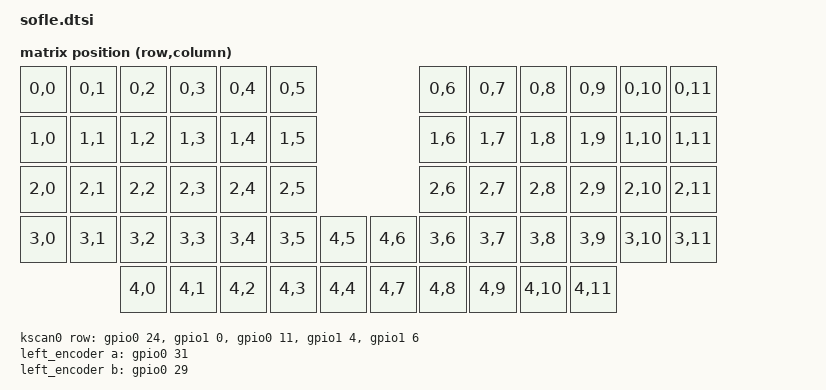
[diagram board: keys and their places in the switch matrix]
/*
* pro_micro == D
* nrf       == gpio
*                    _________________________
*                    |o B+               B- o|
*                    |o RAW             006 o| gpio0 6  D1    LED
*                    |o GND             008 o| gpio0 8  D0    DATA
*                    |o RST             GND o|
*                    |o VCC             GND o|
* ENCA  D21 gpio0 31 |o 031             017 o| gpio0 17 D2    SDA
* ENCB  D20 gpio0 29 |o 029  NRF52840   020 o| gpio0 20 D3    SCL
* COL0  D19 gpio0 2  |o 002             022 o| gpio0 22 D4    
* COL1  D18 gpio1 15 |o 115             024 o| gpio0 24 D5    ROW0
* COL2  D15 gpio1 13 |o 113 o VDD 1 1 1 100 o| gpio1 0  D6    ROW1
* COL3  D14 gpio1 11 |o 111 o DIO 0 0 0 011 o| gpio0 11 D7    ROW2
* COL4  D16 gpio0 10 |o 010 o CLK 7 2 1 104 o| gpio1 4  D8    ROW3
* SW25A D10 gpio0 9  |o 009 o GND o o o 106 o| gpio1 6  D9    ROW4
*                    -------------------------
*                                 | | \ gpio1 1
*                                 | \__ gpio1 2 RST
*                                 \____ gpio1 7 RDY
*/

#include <dt-bindings/zmk/matrix_transform.h>
#include <dt-bindings/led/led.h>
#include <layouts/josefadamcik/sofle.dtsi>
#include "pinctrl.dtsi"

&josefadamcik_sofle_layout {
    transform = <&default_transform>;
};

/ {
    chosen {
        zmk,kscan = &kscan0;
        zmk,battery = &vbatt;
        zmk,underglow = &led_strip;
        zephyr,display = &oled;
    };

    default_transform: keymap_transform_0 {
        compatible = "zmk,matrix-transform";
        columns = <16>;
        rows = <4>;
// | SW6  | SW5  | SW4  | SW3  | SW2  | SW1  |                 | SW1  | SW2  | SW3  | SW4  | SW5  | SW6  |
// | SW12 | SW11 | SW10 | SW9  | SW8  | SW7  |                 | SW7  | SW8  | SW9  | SW10 | SW11 | SW12 |
// | SW18 | SW17 | SW16 | SW15 | SW14 | SW13 |                 | SW13 | SW14 | SW15 | SW16 | SW17 | SW18 |
// | SW24 | SW23 | SW22 | SW21 | SW20 | SW19 | SW25 |   | SW25 | SW19 | SW20 | SW21 | SW22 | SW23 | SW24 |
//               | SW30 | SW29 | SW28 | SW27 | SW26 |   | SW26 | SW27 | SW28 | SW29 | SW30 |
        map = <
RC(0,0) RC(0,1) RC(0,2) RC(0,3) RC(0,4) RC(0,5)                 RC(0,6) RC(0,7) RC(0,8)  RC(0,9) RC(0,10) RC(0,11)
RC(1,0) RC(1,1) RC(1,2) RC(1,3) RC(1,4) RC(1,5)                 RC(1,6) RC(1,7) RC(1,8)  RC(1,9) RC(1,10) RC(1,11)
RC(2,0) RC(2,1) RC(2,2) RC(2,3) RC(2,4) RC(2,5)                 RC(2,6) RC(2,7) RC(2,8)  RC(2,9) RC(2,10) RC(2,11)
RC(3,0) RC(3,1) RC(3,2) RC(3,3) RC(3,4) RC(3,5) RC(4,5) RC(4,6) RC(3,6) RC(3,7) RC(3,8)  RC(3,9) RC(3,10) RC(3,11)
                RC(4,0) RC(4,1) RC(4,2) RC(4,3) RC(4,4) RC(4,7) RC(4,8) RC(4,9) RC(4,10) RC(4,11)
        >;
    };

    kscan0: kscan {
        compatible = "zmk,kscan-gpio-matrix";
        wakeup-source;

        diode-direction = "col2row";
        row-gpios
            = <&gpio0 24 (GPIO_ACTIVE_HIGH | GPIO_PULL_DOWN)>,
              <&gpio1 0  (GPIO_ACTIVE_HIGH | GPIO_PULL_DOWN)>,
              <&gpio0 11 (GPIO_ACTIVE_HIGH | GPIO_PULL_DOWN)>,
              <&gpio1 4  (GPIO_ACTIVE_HIGH | GPIO_PULL_DOWN)>,
              <&gpio1 6  (GPIO_ACTIVE_HIGH | GPIO_PULL_DOWN)>;
    };

// Encoder

    left_encoder: encoder_left {
        compatible = "alps,ec11";
        a-gpios = <&gpio0 31 (GPIO_ACTIVE_HIGH | GPIO_PULL_UP)>;
        b-gpios = <&gpio0 29 (GPIO_ACTIVE_HIGH | GPIO_PULL_UP)>;
        steps = <80>; // realStep*4
        status = "disabled";
    };

    sensors: sensors {
        compatible = "zmk,keymap-sensors";
        sensors = <&left_encoder>;
        triggers-per-rotation = <20>; // realStep
    };

    vbatt: vbatt {
        compatible = "zmk,battery-nrf-vddh";
    };
};

&spi3 {
    compatible = "nordic,nrf-spim";
    status = "okay";

    pinctrl-0 = <&spi3_default>;
    pinctrl-1 = <&spi3_sleep>;
    pinctrl-names = "default", "sleep";

    led_strip: ws2812@0 {
        compatible = "worldsemi,ws2812-spi";

        /* SPI */
        reg = <0>; /* ignored, but necessary for SPI bindings */
        spi-max-frequency = <4000000>;

        /* WS2812 */
        chain-length = <36>; /* arbitrary; change at will */
        spi-one-frame = <0x70>;
        spi-zero-frame = <0x40>;

        color-mapping = <
            LED_COLOR_ID_GREEN
            LED_COLOR_ID_RED
            LED_COLOR_ID_BLUE
        >;
    };
};

&i2c0 {
    status = "okay";
    clock-frequency = <I2C_BITRATE_FAST>;
    pinctrl-0 = <&i2c0_default>;                        /* Configuration for SDA and SCL */
    pinctrl-1 = <&i2c0_sleep>;                          /* Configuration for SDA and SCL */
    pinctrl-names = "default", "sleep";
    
    oled: ssd1306@3c {
        compatible = "solomon,ssd1306fb";
        reg = <0x3c>;
        width = <128>;
        height = <32>;
        segment-offset = <0>;
        page-offset = <0>;
        display-offset = <0>;
        multiplex-ratio = <31>;
        segment-remap;
        com-invdir;
        com-sequential;
        inversion-on;
        prechargep = <0x22>;
    };
};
